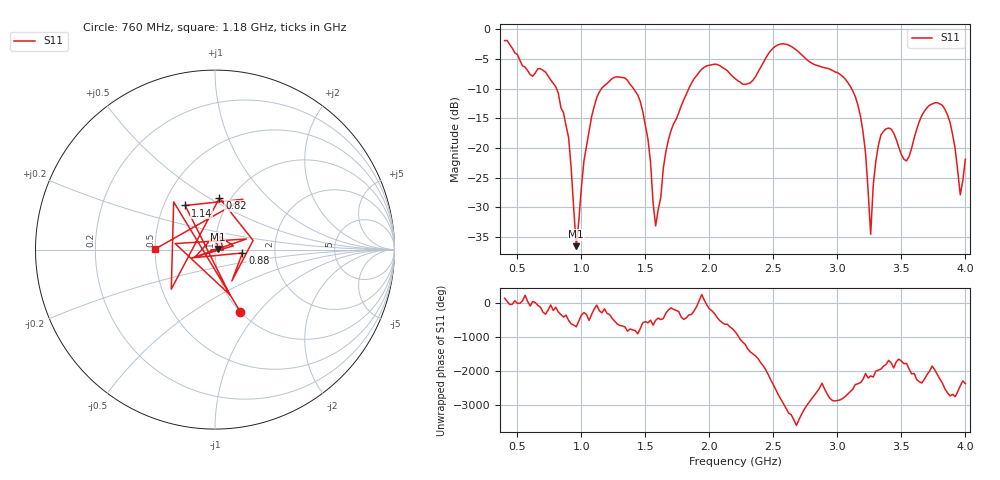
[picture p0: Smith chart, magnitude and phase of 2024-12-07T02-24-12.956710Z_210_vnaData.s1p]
!Created with skrf (http://scikit-rf.org).
# Hz S RI R 50.0
!freq ReS11 ImS11
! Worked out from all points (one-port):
!   181 points, 400 MHz to 4 GHz, reference 50 ohm
!   lowest |S11| = -36.6 dB at 960 MHz (marker M1), VSWR 1.03, Z = 51.5 + j0.355 ohm
!   |S11| at or under -10 dB: 805.8 MHz to 1.156 GHz (350.7 MHz wide, 35.7 % of centre); 1.408 GHz to 1.838 GHz (430.7 MHz wide, 26.5 % of centre); 3.111 GHz to end of sweep
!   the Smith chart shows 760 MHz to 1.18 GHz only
!   S11 on the Smith chart (normalised r, x): 760 MHz: 1.00, -0.81; 820 MHz: 0.89, +0.56; 880 MHz: 1.36, -0.05; 1.14 GHz: 0.64, +0.35; 1.18 GHz: 0.50, +0.00
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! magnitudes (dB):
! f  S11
! 400 MHz  -1.9
! 760 MHz  -8.5
! 820 MHz  -10.8
! 860 MHz  -14.0
! 880 MHz  -16.2
! 900 MHz  -18.2
! 960 MHz  -36.6
! 1.02 GHz  -22.2
! 1.14 GHz  -10.5
! 1.18 GHz  -9.5
! 1.3 GHz  -8.1
! 1.48 GHz  -13.9
! 1.58 GHz  -33.1
! 1.66 GHz  -20.6
! 1.76 GHz  -14.1
! 1.96 GHz  -6.4
! 2.2 GHz  -8.3
! 2.66 GHz  -3.2
! 3.1 GHz  -9.6
! 3.2 GHz  -17.2
! 3.26 GHz  -34.6
! 3.28 GHz  -26.3
! 3.34 GHz  -17.8
! 3.56 GHz  -21.4
! 3.78 GHz  -12.3
! 3.88 GHz  -15.7
! 3.96 GHz  -27.9
! 4 GHz  -21.9
